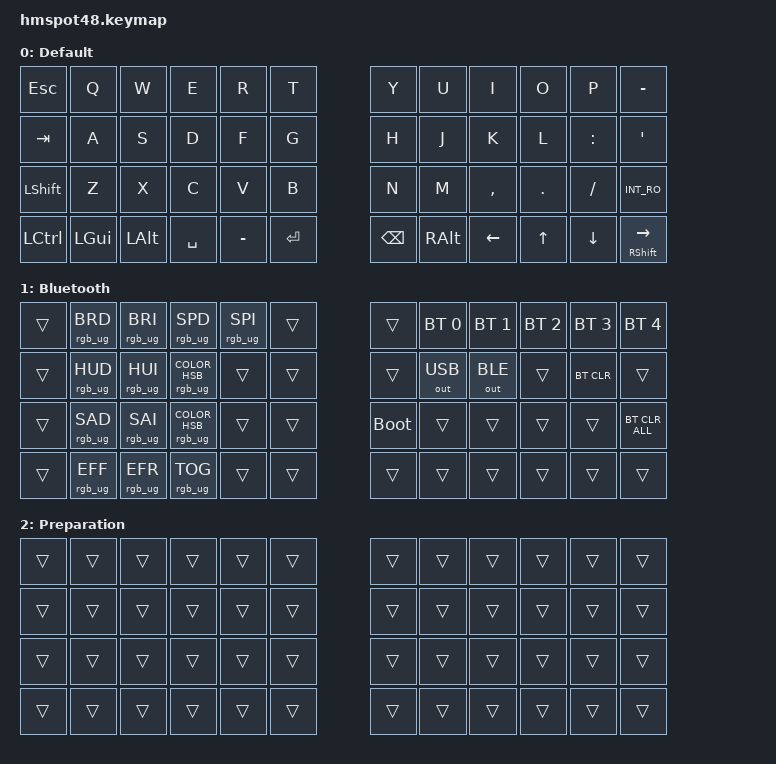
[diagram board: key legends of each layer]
#include <physical_layouts.dtsi>
#include <behaviors.dtsi>
#include <dt-bindings/zmk/bt.h>
#include <dt-bindings/zmk/keys.h>
#include <dt-bindings/zmk/outputs.h>
#include <dt-bindings/zmk/rgb.h>

// &led_strip { chain-length = <6>; };

/ {
    chosen { zmk,physical-layout = &default_layout; };

    default_layout: default_layout {
        compatible = "zmk,physical-layout";
        display-name = "default";
        transform = <&default_transform>;
        kscan = <&kscan0>;
        keys =
            //                    w   h    x    y     rot    rx    ry,,
            <&key_physical_attrs 100 100    0    0       0     0     0>,
            <&key_physical_attrs 100 100  100    0       0   100     0>,
            <&key_physical_attrs 100 100  200    0       0   200     0>,
            <&key_physical_attrs 100 100  300    0       0   300     0>,
            <&key_physical_attrs 100 100  400    0       0   400     0>,
            <&key_physical_attrs 100 100  500    0       0   500     0>,
            <&key_physical_attrs 100 100  700    0       0   700     0>,
            <&key_physical_attrs 100 100  800    0       0   800     0>,
            <&key_physical_attrs 100 100  900    0       0   900     0>,
            <&key_physical_attrs 100 100 1000    0       0  1000     0>,
            <&key_physical_attrs 100 100 1100    0       0  1100     0>,
            <&key_physical_attrs 100 100 1200    0       0  1200     0>,
            <&key_physical_attrs 100 100    0  100       0     0   100>,
            <&key_physical_attrs 100 100  100  100       0   100   100>,
            <&key_physical_attrs 100 100  200  100       0   200   100>,
            <&key_physical_attrs 100 100  300  100       0   300   100>,
            <&key_physical_attrs 100 100  400  100       0   400   100>,
            <&key_physical_attrs 100 100  500  100       0   500   100>,
            <&key_physical_attrs 100 100  700  100       0   700   100>,
            <&key_physical_attrs 100 100  800  100       0   800   100>,
            <&key_physical_attrs 100 100  900  100       0   900   100>,
            <&key_physical_attrs 100 100 1000  100       0  1000   100>,
            <&key_physical_attrs 100 100 1100  100       0  1100   100>,
            <&key_physical_attrs 100 100 1200  100       0  1200   100>,
            <&key_physical_attrs 100 100    0  200       0     0   200>,
            <&key_physical_attrs 100 100  100  200       0   100   200>,
            <&key_physical_attrs 100 100  200  200       0   200   200>,
            <&key_physical_attrs 100 100  300  200       0   300   200>,
            <&key_physical_attrs 100 100  400  200       0   400   200>,
            <&key_physical_attrs 100 100  500  200       0   500   200>,
            <&key_physical_attrs 100 100  700  200       0   700   200>,
            <&key_physical_attrs 100 100  800  200       0   800   200>,
            <&key_physical_attrs 100 100  900  200       0   900   200>,
            <&key_physical_attrs 100 100 1000  200       0  1000   200>,
            <&key_physical_attrs 100 100 1100  200       0  1100   200>,
            <&key_physical_attrs 100 100 1200  200       0  1200   200>,
            <&key_physical_attrs 100 100    0  300       0     0   300>,
            <&key_physical_attrs 100 100  100  300       0   100   300>,
            <&key_physical_attrs 100 100  200  300       0   200   300>,
            <&key_physical_attrs 100 100  300  300       0   300   300>,
            <&key_physical_attrs 100 100  400  300       0   400   300>,
            <&key_physical_attrs 100 100  500  300       0   500   300>,
            <&key_physical_attrs 100 100  700  300       0   700   300>,
            <&key_physical_attrs 100 100  800  300       0   800   300>,
            <&key_physical_attrs 100 100  900  300       0   900   300>,
            <&key_physical_attrs 100 100 1000  300       0  1000   300>,
            <&key_physical_attrs 100 100 1100  300       0  1100   300>,
            <&key_physical_attrs 100 100 1200  300       0  1200   300>;
    };

    position_map {
        compatible = "zmk,physical-layout-position-map";
        complete;

        default_layout {
            physical-layout = <&default_layout>;
            positions =
                < 0  1  2  3  4  5     6  7  8  9 10 11>,
                <12 13 14 15 16 17    18 19 20 21 22 23>,
                <24 25 26 27 28 29    30 31 32 33 34 35>,
                <36 37 38 39 40 41    42 43 44 45 46 47>;
        };
    };

    keymap {
        compatible = "zmk,keymap";

        default_layer {
            display-name = "Default";
            bindings = <
&kp ESCAPE      &kp Q     &kp W     &kp E      &kp R      &kp T        &kp Y          &kp U     &kp I      &kp O    &kp P      &kp MINUS
&kp TAB         &kp A     &kp S     &kp D      &kp F      &kp G        &kp H          &kp J     &kp K      &kp L    &kp COLON  &kp SINGLE_QUOTE
&kp LEFT_SHIFT  &kp Z     &kp X     &kp C      &kp V      &kp B        &kp N          &kp M     &kp COMMA  &kp DOT  &kp SLASH  &kp INT_RO
&kp LCTRL       &kp LGUI  &kp LALT  &kp SPACE  &kp MINUS  &kp ENTER    &kp BACKSPACE  &kp RALT  &kp LEFT   &kp UP   &kp DOWN   &mt RIGHT_SHIFT RIGHT
            >;
        };

        layer_4 {
            display-name = "Bluetooth";
            bindings = <
&trans  &rgb_ug RGB_BRD  &rgb_ug RGB_BRI  &rgb_ug RGB_SPD                     &rgb_ug RGB_SPI  &trans    &trans       &bt BT_SEL 0  &bt BT_SEL 1  &bt BT_SEL 2  &bt BT_SEL 3  &bt BT_SEL 4
&trans  &rgb_ug RGB_HUD  &rgb_ug RGB_HUI  &rgb_ug RGB_COLOR_HSB(0,0,100)      &trans           &trans    &trans       &out OUT_USB  &out OUT_BLE  &trans        &bt BT_CLR    &trans
&trans  &rgb_ug RGB_SAD  &rgb_ug RGB_SAI  &rgb_ug RGB_COLOR_HSB(224,100,100)  &trans           &trans    &bootloader  &trans        &trans        &trans        &trans        &bt BT_CLR_ALL
&trans  &rgb_ug RGB_EFF  &rgb_ug RGB_EFR  &rgb_ug RGB_TOG                     &trans           &trans    &trans       &trans        &trans        &trans        &trans        &trans
            >;
        };

        layer_5 {
            display-name = "Preparation";
            bindings = <
&trans  &trans  &trans  &trans  &trans  &trans    &trans  &trans  &trans  &trans  &trans  &trans
&trans  &trans  &trans  &trans  &trans  &trans    &trans  &trans  &trans  &trans  &trans  &trans
&trans  &trans  &trans  &trans  &trans  &trans    &trans  &trans  &trans  &trans  &trans  &trans
&trans  &trans  &trans  &trans  &trans  &trans    &trans  &trans  &trans  &trans  &trans  &trans
            >;
        };
    };
};
